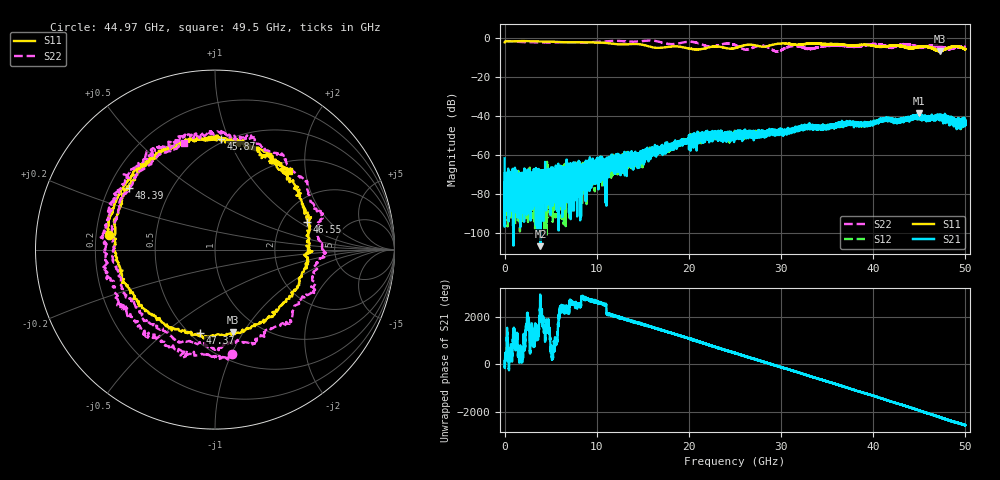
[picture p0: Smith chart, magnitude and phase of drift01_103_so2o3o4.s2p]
!Created with skrf (http://scikit-rf.org).
# Hz S RI R 50.0
!freq ReS11 ImS11 ReS21 ImS21 ReS12 ImS12 ReS22 ImS22
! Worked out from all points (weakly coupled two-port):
!   10001 points, 300 kHz to 50 GHz, reference 50 ohm
!   highest |S21| = -38.49 dB at 44.97 GHz (marker M1); lowest = -106.6 dB at 3.89 GHz (marker M2)
!   lowest |S11| = -6.6 dB at 47.21 GHz (marker M3), VSWR 2.77, Z = 38.3 - j45.1 ohm
!   |S11| at or under -10 dB: nowhere
!   |S22| runs from -6.8 to -1.0 dB; largest |S21 - S12| = 0.0043
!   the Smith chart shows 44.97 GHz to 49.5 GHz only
!   S11 on the Smith chart (normalised r, x): 44.97 GHz: 0.25, +0.06; 45.87 GHz: 0.47, +0.94; 46.55 GHz: 2.75, +1.17; 47.37 GHz: 0.55, -0.67; 48.39 GHz: 0.28, +0.30; 49.5 GHz: 1.19, +1.62
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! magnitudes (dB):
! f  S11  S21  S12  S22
! 300 kHz  -2.1  -61.5  -68.6  -1.3
! 275.3 MHz  -1.4  -78.1  -74.8  -1.4
! 3.89 GHz  -1.6  -106.6  -84.1  -2.0
! 8.335 GHz  -1.9  -68.1  -73.5  -2.1
! 16.67 GHz  -4.8  -56.0  -56.8  -1.6
! 21.93 GHz  -4.8  -47.7  -50.8  -4.0
! 25 GHz  -5.0  -50.4  -48.7  -3.4
! 26.18 GHz  -3.3  -48.7  -48.3  -5.7
! 28.09 GHz  -4.3  -48.4  -49.0  -3.8
! 29.53 GHz  -2.8  -48.5  -47.9  -6.7
! 31.3 GHz  -3.1  -46.7  -46.7  -4.0
! 33.34 GHz  -2.6  -45.6  -45.7  -5.4
! 40.13 GHz  -3.8  -43.2  -43.3  -2.9
! 41.67 GHz  -3.9  -41.4  -41.8  -4.5
! 44.97 GHz  -4.5  -38.5  -40.0  -4.6
! 45.87 GHz  -4.2  -40.0  -40.9  -4.2
! 46.55 GHz  -5.4  -40.3  -41.3  -3.7
! 47.21 GHz  -6.6  -40.4  -40.2  -4.5
! 47.37 GHz  -6.5  -41.6  -40.8  -4.8
! 48.39 GHz  -4.6  -41.2  -41.5  -5.4
! 49.5 GHz  -4.5  -41.7  -44.2  -4.2
! 50 GHz  -5.5  -42.4  -44.1  -4.3
